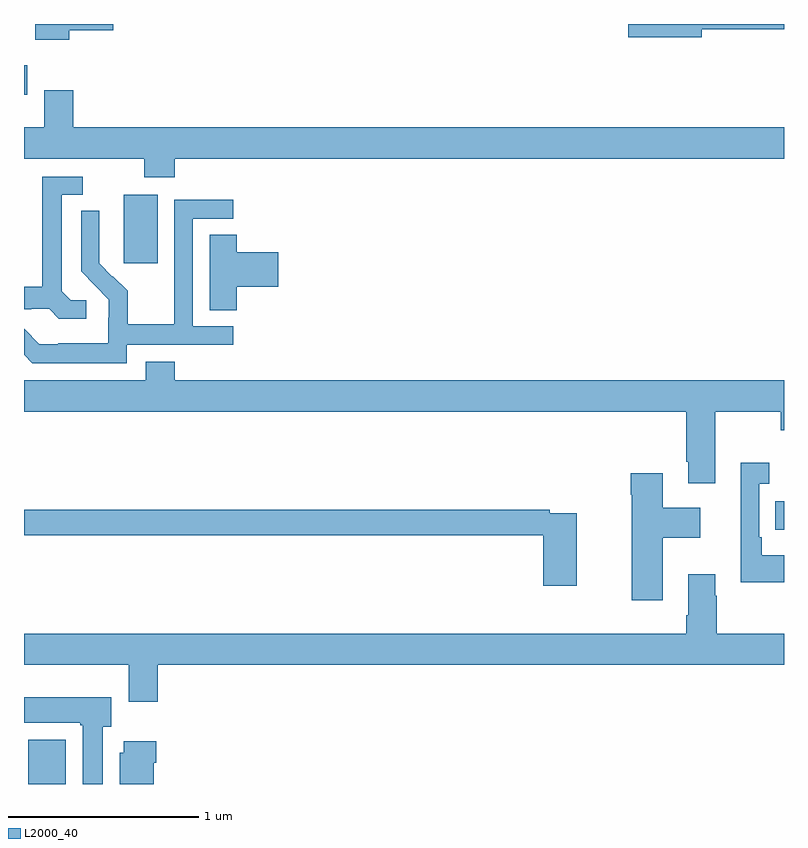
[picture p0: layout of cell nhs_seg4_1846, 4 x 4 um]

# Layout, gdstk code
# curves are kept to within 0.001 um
import gdstk
lib = gdstk.Library(unit=1e-6, precision=1e-09)
def R(c, l, rs):  # rectangles x0, y0, x1, y1
    for r in rs: c.add(gdstk.rectangle(r[:2], r[2:], *l))
def P(c, l, *ps):  # polygons
    for p in ps: c.add(gdstk.Polygon(p, *l))
L2000_40 = (2000, 40)

nhs_seg4_1846 = lib.new_cell('nhs_seg4_1846')
R(nhs_seg4_1846, L2000_40, [(207.023,754.9,207.22,755.134), (210.955,756.239,211,756.387), (207.524,757.641,207.703,758.002), (207,758.528,207.016,758.682)])
P(nhs_seg4_1846, L2000_40, [(210.568,758.872),(211,758.872),(211,758.9),(210.18,758.9),(210.18,758.83),(210.568,758.83)],
  [(207.238,758.867),(207.469,758.867),(207.469,758.9),(207.059,758.9),(207.059,758.816),(207.238,758.816)],
  [(207.794,758.192),(211,758.192),(211,758.356),(207.26,758.356),(207.26,758.551),(207.107,758.551),(207.107,758.356),(207,758.356),(207,758.192),(207.634,758.192),(207.634,758.093),(207.794,758.093)],
  [(207.328,757.446),(207.246,757.446),(207.199,757.493),(207.199,758.001),(207.31,758.001),(207.31,758.097),(207.095,758.097),(207.095,757.517),(207,757.517),(207,757.398),(207.038,757.398),(207.038,757.401),(207.132,757.401),(207.184,757.349),(207.328,757.349)],
  [(207.54,757.212),(208.102,757.212),(208.102,757.308),(207.888,757.308),(207.888,757.875),(208.102,757.875),(208.102,757.974),(207.792,757.974),(207.792,757.544),(207.79,757.544),(207.79,757.321),(207.545,757.321),(207.545,757.495),(207.468,757.572),(207.465,757.569),(207.395,757.64),(207.396,757.916),(207.3,757.916),(207.3,757.598),(207.446,757.45),(207.446,757.353),(207.444,757.353),(207.444,757.219),(207.181,757.219),(207.181,757.215),(207.081,757.215),(207,757.296),(207,757.158),(207.043,757.115),(207.54,757.115)],
  [(208.121,757.517),(208.339,757.517),(208.339,757.7),(208.121,757.7),(208.121,757.79),(207.977,757.79),(207.977,757.393),(208.121,757.393)],
  [(210.637,756.86),(210.982,756.86),(210.982,756.761),(211,756.761),(211,757.024),(207.794,757.024),(207.794,757.123),(207.641,757.123),(207.641,757.024),(207,757.024),(207,756.86),(210.485,756.86),(210.485,756.595),(210.497,756.595),(210.497,756.483),(210.637,756.483)],
  [(211,756.103),(210.883,756.103),(210.883,756.199),(210.87,756.199),(210.87,756.479),(210.922,756.479),(210.922,756.592),(210.773,756.592),(210.773,755.963),(211,755.963)],
  [(210.361,756.197),(210.559,756.197),(210.559,756.355),(210.361,756.355),(210.361,756.535),(210.194,756.535),(210.194,756.422),(210.199,756.422),(210.199,755.868),(210.361,755.868)],
  [(209.91,756.324),(209.768,756.324),(209.768,756.344),(207,756.344),(207,756.208),(209.732,756.208),(209.732,755.943),(209.91,755.943)],
  [(207.704,755.528),(211,755.528),(211,755.692),(210.645,755.692),(210.645,755.891),(210.637,755.891),(210.637,756.004),(210.497,756.004),(210.497,755.788),(210.485,755.788),(210.485,755.692),(207,755.692),(207,755.528),(207.551,755.528),(207.551,755.334),(207.704,755.334)],
  [(207.415,755.202),(207.46,755.202),(207.46,755.356),(207,755.356),(207,755.222),(207.295,755.222),(207.295,755.209),(207.308,755.209),(207.308,754.9),(207.415,754.9)],
  [(207.682,755.012),(207.695,755.012),(207.695,755.125),(207.524,755.125),(207.524,755.064),(207.503,755.064),(207.503,754.9),(207.682,754.9)])

lib.write_gds('nhs_seg4_1846.gds')
